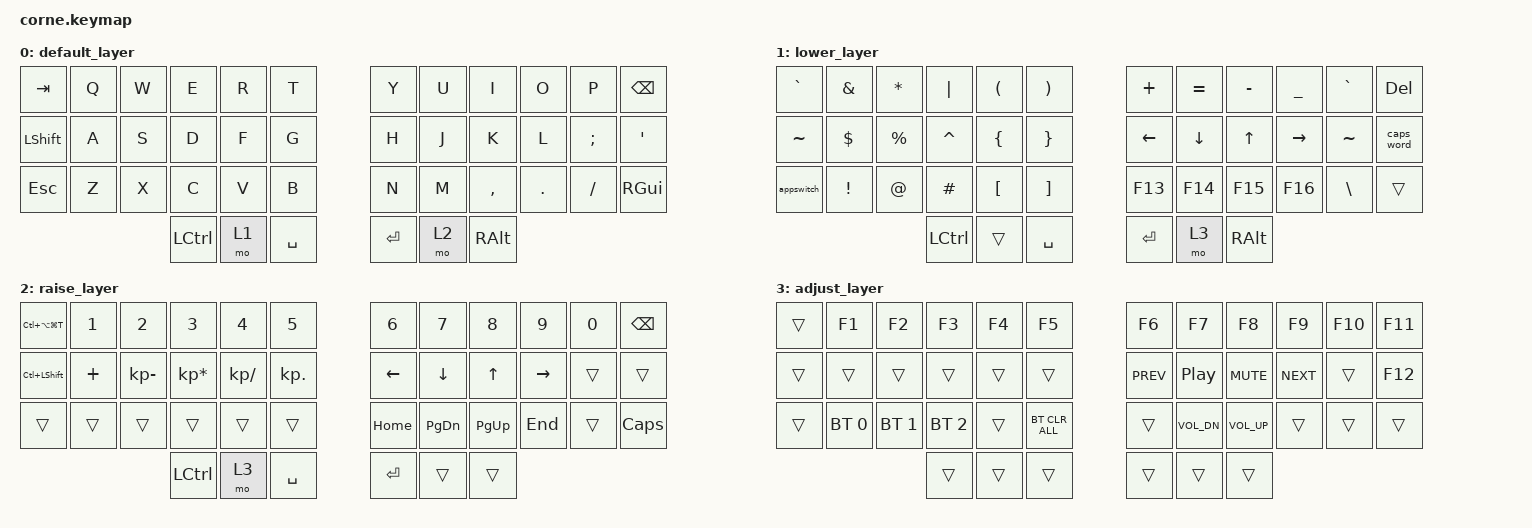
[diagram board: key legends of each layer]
#include <behaviors.dtsi>
#include <dt-bindings/zmk/bt.h>
#include <dt-bindings/zmk/keys.h>

/ {
    behaviors {
        caps_word: caps_word {
            compatible = "zmk,behavior-caps-word";
            label = "CAPS_WORD";
            #binding-cells = <0>;
            continue-list = <UNDERSCORE MINUS>;
        };

        ht: ht {
            compatible = "zmk,behavior-hold-tap";
            label = "HT";
            bindings = <&mo>, <&kp>;

            #binding-cells = <2>;
            tapping-term-ms = <200>;
            quick-tap-ms = <125>;
            retro-tap;
        };
    };

    combos {
        compatible = "zmk,combos";

        esc {
            bindings = <&kp ESC>;
            key-positions = <19 20>;
            timeout-ms = <50>;
            layers = <0>;
        };

        esc2 {
            bindings = <&kp ESC>;
            key-positions = <15 16>;
            timeout-ms = <50>;
            layers = <0>;
        };
    };

    macros {
        appswitch: appswitch {
            compatible = "zmk,behavior-macro";
            #binding-cells = <0>;
            bindings =
                <&macro_press>,
                <&kp LEFT_ALT>,
                <&macro_tap>,
                <&kp TAB>,
                <&macro_tap>,
                <&sk LEFT_ALT>,
                <&macro_release>,
                <&kp LALT>;

            label = "APPSWITCH";
            tap-ms = <40>;
            wait-ms = <100>;
        };
    };

    keymap {
        compatible = "zmk,keymap";

        default_layer {
            bindings = <
&kp TAB     &kp Q  &kp W  &kp E      &kp R  &kp T        &kp Y    &kp U  &kp I      &kp O    &kp P     &kp BSPC
&kp LSHIFT  &kp A  &kp S  &kp D      &kp F  &kp G        &kp H    &kp J  &kp K      &kp L    &kp SEMI  &kp SQT
&kp ESC     &kp Z  &kp X  &kp C      &kp V  &kp B        &kp N    &kp M  &kp COMMA  &kp DOT  &kp FSLH  &kp RIGHT_GUI
                          &kp LCTRL  &mo 1  &kp SPACE    &kp RET  &mo 2  &kp RALT
            >;
        };

        lower_layer {
            bindings = <
&kp GRAVE   &kp AMPS  &kp ASTRK    &kp PIPE   &kp LPAR  &kp RPAR     &kp PLUS  &kp EQUAL  &kp MINUS  &kp UNDER  &kp GRAVE      &kp DELETE
&kp TILDE   &kp DLLR  &kp PERCENT  &kp CARET  &kp LBRC  &kp RBRC     &kp LEFT  &kp DOWN   &kp UP     &kp RIGHT  &kp TILDE      &caps_word
&appswitch  &kp EXCL  &kp AT       &kp HASH   &kp LBKT  &kp RBKT     &kp F13   &kp F14    &kp F15    &kp F16    &kp BACKSLASH  &trans
                                   &kp LCTRL  &trans    &kp SPACE    &kp RET   &mo 3      &kp RALT
            >;
        };

        raise_layer {
            bindings = <
&kp LC(LA(LG(T)))  &kp N1    &kp N2        &kp N3           &kp N4         &kp N5        &kp N6    &kp N7         &kp N8       &kp N9     &kp N0  &kp BSPC
&kp LC(LSHFT)      &kp PLUS  &kp KP_MINUS  &kp KP_MULTIPLY  &kp KP_DIVIDE  &kp KP_DOT    &kp LEFT  &kp DOWN       &kp UP       &kp RIGHT  &trans  &trans
&trans             &trans    &trans        &trans           &trans         &trans        &kp HOME  &kp PAGE_DOWN  &kp PAGE_UP  &kp END    &trans  &kp CAPS
                                           &kp LCTRL        &mo 3          &kp SPACE     &kp RET   &trans         &trans
            >;
        };

        adjust_layer {
            bindings = <
&trans  &kp F1        &kp F2        &kp F3        &kp F4  &kp F5            &kp F6      &kp F7            &kp F8           &kp F9      &kp F10  &kp F11
&trans  &trans        &trans        &trans        &trans  &trans            &kp C_PREV  &kp C_PLAY_PAUSE  &kp C_MUTE       &kp C_NEXT  &trans   &kp F12
&trans  &bt BT_SEL 0  &bt BT_SEL 1  &bt BT_SEL 2  &trans  &bt BT_CLR_ALL    &trans      &kp C_VOL_DN      &kp C_VOLUME_UP  &trans      &trans   &trans
                                    &trans        &trans  &trans            &trans      &trans            &trans
            >;
        };
    };
};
